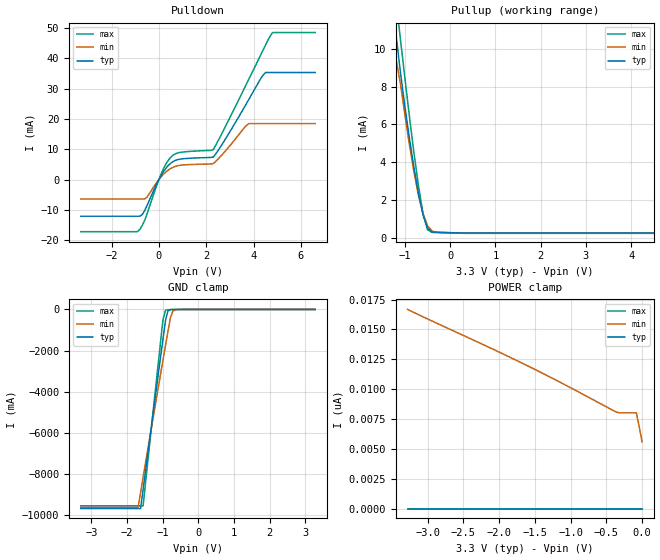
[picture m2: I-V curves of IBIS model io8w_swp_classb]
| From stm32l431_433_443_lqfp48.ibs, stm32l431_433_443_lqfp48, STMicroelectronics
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|   Model io8w_swp_classb
[Model]  io8w_swp_classb
Model_type I/O
Polarity   Non-Inverting
Enable   Active-High
Vinl =   0.540000V
Vinh =   1.260000V
Vmeas =  0.900000V
Cref =   100.000000nF
Rref =   1.000000k
Vref =   1.800000V
C_comp   2.968600pF   2.938100pF   3.196200pF
[Temperature Range]   25.000000   0.125000k   -40.000000
[Pullup Reference]   3.300000V   2.700000V   3.600000V
[Pulldown Reference]   0.0V   0.0V   0.0V
[POWER Clamp Reference]   3.300000V   2.700000V   3.600000V
[GND Clamp Reference]   0.0V   0.0V   0.0V
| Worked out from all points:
|   slope of the pulldown table from 0 to 0.495 V, typ, clamps not added: 92 ohm
|   slope of the pullup table from 0 to 0.495 V, typ, clamps not added: 21.4 kohm
|   GND clamp passes 1 mA (typ) near -0.58 V on its own axis
[Pulldown]
|Voltage   I(typ)   I(min)   I(max)
-3.3V     -12.08mA   -6.415mA   -17.19mA
-900mV    -12.08mA   -6.415mA   -17.19mA
-700mV    -11.52mA   -6.415mA   -15.12mA
-500mV    -8.573mA   -5.793mA   -11.34mA
100mV     1.441mA    961uA      1.982mA
500mV     5.42mA     3.678mA    7.37mA
900mV     6.765mA    4.729mA    8.971mA
2.3V      7.448mA    5.308mA    9.911mA
3.8V      26.49mA    18.49mA    33.18mA
4.5V      35.36mA    18.49mA    44.39mA
4.8V      35.36mA    18.49mA    48.57mA
6.6V      35.36mA    18.49mA    48.57mA
[Pullup]
|Voltage   I(typ)   I(min)   I(max)
-3.3V     36.9mA     24.79mA    44mA
-1.3V     12.88mA    10.96mA    14.66mA
-1.2V     10.79mA    9.489mA    12.6mA
-1.1V     8.766mA    8.158mA    10.5mA
-900mV    5.248mA    4.913mA    6.4mA
-800mV    3.71mA     3.469mA    4.483mA
-700mV    2.334mA    2.234mA    2.736mA
-600mV    1.207mA    1.276mA    1.282mA
-500mV    495.5uA    639.6uA    427.6uA
-400mV    314.2uA    355.8uA    288.6uA
300mV     253.8uA    244.2uA    241uA
6.6V      253.8uA    244.2uA    241uA
[GND_clamp]
|Voltage   I(typ)   I(min)   I(max)
-3.3V     -9.687A    -9.633A    -9.557A
-1.69V    -9.687A    -9.633A    -9.557A
-1.62V    -9.687A    -8.894A    -9.557A
-1.55V    -8.764A    -8.167A    -9.557A
-1.13V    -3.236A    -3.867A    -2.713A
-990mV    -1.416A    -2.448A    -480.1mA
-920mV    -530mA     -1.746A    -39.96mA
-850mV    -62.36mA   -1.055A    -14.04mA
-780mV    -12.04mA   -390.4mA   -9.013mA
-710mV    -4.897mA   -69.08mA   -5.32mA
-640mV    -2.305mA   -14.59mA   -2.498mA
3.28V     0A         0A         0A
[POWER_clamp]
|Voltage   I(typ)   I(min)   I(max)
-3.28V    0A         16.68nA    0A
-1.64V    0A         12.07nA    0A
-1.08V    0A         10.37nA    0A
-360mV    0A         8.078nA    0A
-320mV    0A         8.02nA     0A
-80mV     0A         8.02nA     0A
-40mV     0A         6.883nA    0A
0V        0A         5.582nA    0A
[Ramp]
| variable   typ   min   max
dV/dt_r  0.22320/90.48880n   0.17303/63.86726n   0.26783/0.12373u
dV/dt_f  0.35220/9.89381n   0.17160/18.29762n   0.49530/6.85231n
R_load = 50.000000
|End [Model] io8w_swp_classb
